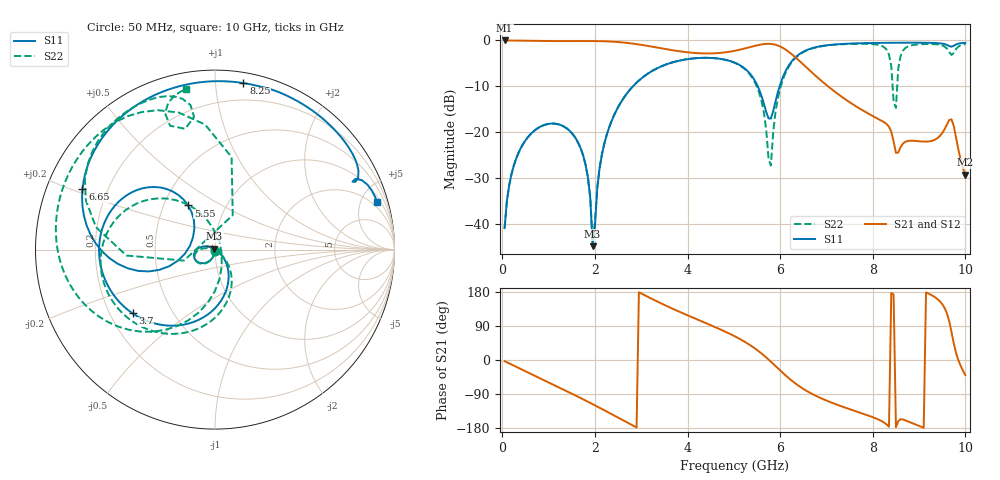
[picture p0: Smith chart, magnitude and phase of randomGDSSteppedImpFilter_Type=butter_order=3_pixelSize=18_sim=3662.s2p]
! freq	dB(S11)	phase(S11)	dB(S12)	phase(S12)
!  dB(S21)	phase(S21)	dB(S22)	phase(S22)
!S-par simulation data
#  GHz  S  DB  R 50
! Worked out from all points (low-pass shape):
!   200 points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, 50 MHz to 10 GHz, reference 50 ohm
!   highest |S21| = 0.00 dB at 50 MHz (marker M1); lowest = -29.3 dB at 10 GHz (marker M2)
!   |S21| within 3 dB of the highest: start of sweep to 6.251 GHz
!   lowest |S11| = -44.9 dB at 1.95 GHz (marker M3), VSWR 1.01, Z = 49.6 + j0.432 ohm
!   |S11| at or under -10 dB: start of sweep to 2.824 GHz; 5.515 GHz to 5.989 GHz (474.6 MHz wide, 8.25 % of centre)
!   |S22| runs from -43.6 to -0.7 dB; largest |S21 - S12| = 0
!   S11 on the Smith chart (normalised r, x): 50 MHz: 1.00, -0.02; 3.7 GHz: 0.29, -0.31; 5.55 GHz: 0.66, +0.36; 6.65 GHz: 0.11, +0.21; 8.25 GHz: 0.07, +1.18; 10 GHz: 1.45, +6.69
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0.05  -40.96 -92.4  -0.00 -3.0  -0.00 -3.0  -40.92 -92.0
0.25  -27.26 -105.4  -0.03 -14.9  -0.03 -14.9  -27.26 -104.4
0.65  -20.06 -130.4  -0.09 -38.6  -0.09 -38.6  -20.07 -127.8
1.75  -25.23 160.8  -0.13 -104.0  -0.13 -104.0  -25.26 171.7
1.95  -44.90 130.1  -0.14 -116.5  -0.14 -116.5  -43.62 -162.7
2.1  -27.98 -37.6  -0.16 -126.0  -0.16 -126.0  -27.85 -39.8
2.35  -17.85 -56.0  -0.25 -142.2  -0.25 -142.2  -17.80 -51.4
3.4  -5.81 -124.8  -1.66 151.1  -1.66 151.1  -5.79 -114.1
3.7  -4.72 -142.3  -2.18 134.1  -2.18 134.1  -4.71 -130.3
5.05  -4.98 145.6  -2.20 60.7  -2.20 60.7  -5.03 159.3
5.55  -10.81 121.3  -0.96 21.8  -0.96 21.8  -11.53 117.8
5.8  -17.03 170.9  -0.77 -4.4  -0.77 -4.4  -27.32 -30.6
6.05  -8.23 -161.7  -1.58 -33.2  -1.58 -33.2  -8.81 -104.6
6.65  -1.81 155.5  -6.66 -86.9  -6.66 -86.9  -1.88 -160.6
6.7  -1.66 152.3  -7.12 -90.1  -7.12 -90.1  -1.72 -163.9
7.6  -0.65 106.9  -14.14 -133.8  -14.14 -133.8  -0.74 152.2
8.25  -0.53 80.3  -17.88 -165.7  -17.88 -165.7  -1.51 112.4
8.35  -0.52 76.4  -18.84 -176.0  -18.84 -176.0  -3.11 94.5
8.5  -0.48 70.6  -24.55 -177.5  -24.55 -177.5  -14.74 -160.5
8.7  -0.48 62.7  -22.14 -159.2  -22.14 -159.2  -1.68 151.6
9.7  -1.37 26.3  -17.22 74.1  -17.22 74.1  -3.18 103.9
10  -0.53 16.3  -29.32 -39.9  -29.32 -39.9  -0.82 100.1
